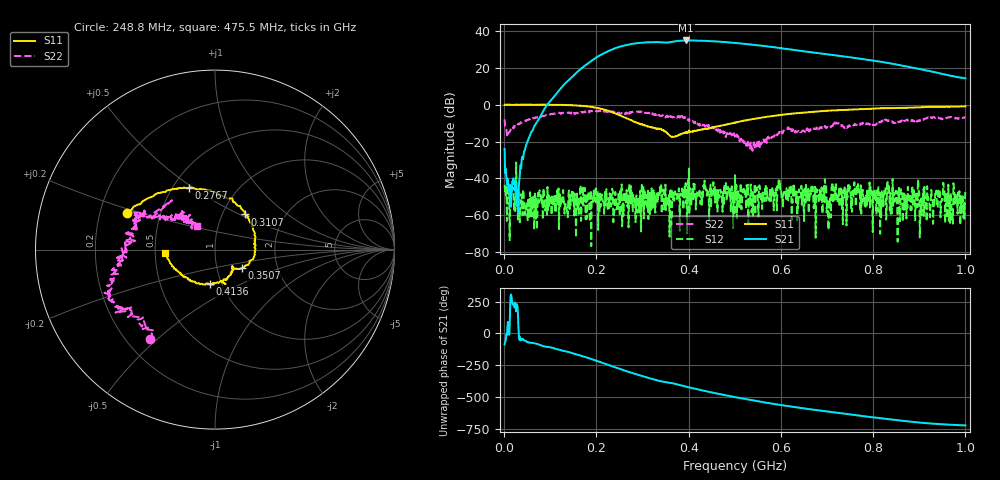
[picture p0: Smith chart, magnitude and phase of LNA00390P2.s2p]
! Created with skrf 1.9.0 (http://scikit-rf.org).
# Hz S RI R 50.0
!freq ReS11 ImS11 ReS21 ImS21 ReS12 ImS12 ReS22 ImS22
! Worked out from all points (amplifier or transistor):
!   1001 points, 1 MHz to 1 GHz, reference 50 ohm
!   highest |S21| = 34.9 dB at 394.6 MHz (marker M1)
!   |S21| within 3 dB of that: 256.5 MHz to 562.9 MHz (306.4 MHz wide, 74.8 % of centre)
!   unconditionally stable (mu >= 1): 301.7 MHz to 400.3 MHz; 400.9 MHz to 500.5 MHz; 500.5 MHz to end of sweep (the widest 3 of 45)
!   at 166.8 MHz: K = 5.40, MAG = 31.0 dB, |S12| = -63.0 dB
!   at 500.5 MHz: K = 1.00, MSG = 35.9 dB, |S12| = -38.3 dB
!   at 1 GHz: K = 2.70, MAG = 23.4 dB, |S12| = -46.8 dB
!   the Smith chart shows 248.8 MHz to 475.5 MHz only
!   S11 on the Smith chart (normalised r, x): 248.8 MHz: 0.32, +0.18; 276.7 MHz: 0.60, +0.48; 310.7 MHz: 1.28, +0.54; 350.6 MHz: 1.32, -0.28; 413.6 MHz: 0.88, -0.35; 475.5 MHz: 0.56, -0.02
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1000000  0.988 0.0106  0.0028 -0.0629  -0.00262 -0.00622  0.2899 0.2752
1.08892e8  0.5281 -0.8446  -0.803 -1.503  0.00207 0.00258  0.4203 -0.3832
1.67833e8  -0.2238 -0.9038  -9.787 -0.5773  -0.000707 -0.00157  0.034 -0.6263
2.11789e8  -0.6806 -0.3575  -15.2 17.81  0.00249 0.00272  -0.208 -0.638
2.29771e8  -0.6555 -0.0533  -9.032 28.56  0.00188 0.00212  -0.2668 -0.5773
2.48752e8  -0.4878 0.2016  4.419 36.56  -0.00233 -0.00298  -0.3622 -0.4979
2.76724e8  -0.1449 0.345  28.92 33.59  -0.00411 0.000724  -0.5316 -0.3239
3.1069e8  0.1689 0.1956  48.13 10.13  -0.00136 -0.000537  -0.5648 -0.1768
3.34666e8  0.2207 -0.0125  48.83 -10.13  0.00395 0.00236  -0.5164 -0.063
3.5065e8  0.1511 -0.1027  44.37 -19.77  -0.00104 0.000919  -0.4762 0.0553
3.72628e8  0.0991 -0.1011  41.72 -33.06  0.000402 0.00308  -0.4515 0.1562
3.94606e8  0.0598 -0.163  28.65 -47.42  -0.00144 0.00153  -0.3998 0.1848
4.13587e8  -0.0263 -0.1913  14.03 -53.21  -6.95e-06 0.00307  -0.2971 0.1828
4.41559e8  -0.1617 -0.1541  -7.421 -53.28  0.00358 0.000832  -0.1833 0.1971
4.75525e8  -0.2795 -0.0162  -27.87 -42.31  0.00295 0.000831  -0.1013 0.1308
5.005e8  -0.3099 0.1251  -37.3 -29.91  0.0102 0.00669  -0.0681 0.1179
5.39461e8  -0.2439 0.3312  -41.36 -9.471  -0.000772 0.000568  -0.0753 -0.0106
5.85415e8  -0.0602 0.4984  -35.01 9.516  0.00225 -0.000897  -0.1302 -0.0478
6.67333e8  0.3324 0.5464  -13.7 22.35  0.000364 -0.0045  -0.2228 -0.0268
7.55245e8  0.642 0.3762  3.121 18.63  -0.00248 -0.00386  -0.2822 0.0449
8.34166e8  0.7902 0.1503  9.415 9.566  -0.00659 -0.00117  -0.3727 0.0237
1e9  0.8218 -0.376  5.193 -0.3382  -0.00181 0.00421  -0.2803 0.3448
